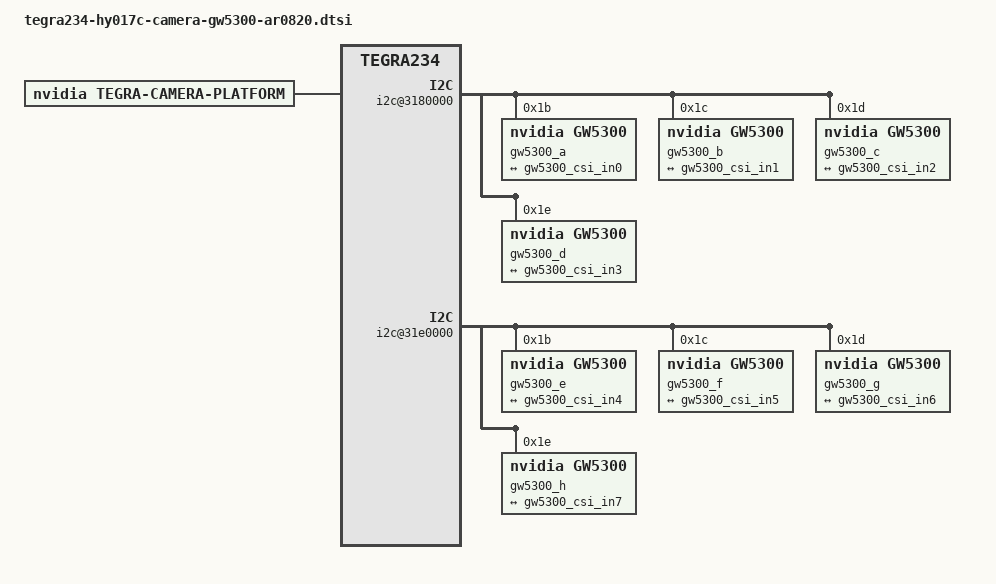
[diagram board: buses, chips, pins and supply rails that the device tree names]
/*
 * Copyright (c) 2018, NVIDIA CORPORATION.  All rights reserved.
 *
 * This program is free software; you can redistribute it and/or modify
 * it under the terms of the GNU General Public License as published by
 * the Free Software Foundation; either version 2 of the License, or
 * (at your option) any later version.
 *
 * This program is distributed in the hope that it will be useful, but WITHOUT
 * ANY WARRANTY; without even the implied warranty of MERCHANTABILITY or
 * FITNESS FOR A PARTICULAR PURPOSE.  See the GNU General Public License for
 * more details.
 *
 * You should have received a copy of the GNU General Public License
 * along with this program.  If not, see <http://www.gnu.org/licenses/>.
 */



/ {
		tegra-capture-vi {
			num-channels = <8>;
			ports {
				#address-cells = <1>;
				#size-cells = <0>;
            #if 1
				port@0 {
					reg = <0>;
					gw5300_vi_in0: endpoint {
						vc-id = <0>;
						port-index = <0>;
						bus-width = <4>;
						remote-endpoint = <&gw5300_csi_out0>;
					};
				};
				port@1 {
					reg = <1>;
					gw5300_vi_in1: endpoint {
						vc-id = <1>;
						port-index = <0>;
						bus-width = <4>;
						remote-endpoint = <&gw5300_csi_out1>;
					};
				};
				port@2 {
					reg = <2>;
					gw5300_vi_in2: endpoint {
						vc-id = <0>;
						port-index = <2>;
						bus-width = <4>;
						remote-endpoint = <&gw5300_csi_out2>;
					};
				};
				port@3 {
					reg = <3>;
					gw5300_vi_in3: endpoint {
						vc-id = <1>;
						port-index = <2>;
						bus-width = <4>;
						remote-endpoint = <&gw5300_csi_out3>;
					};
				};
            #endif
            #if 1
				port@4 {
					reg = <4>;
					gw5300_vi_in4: endpoint {
						vc-id = <0>;
						port-index = <5>;
						bus-width = <4>;
						remote-endpoint = <&gw5300_csi_out4>;
					};
				};
				port@5 {
					reg = <5>;
					gw5300_vi_in5: endpoint {
						vc-id = <1>;
						port-index = <5>;
						bus-width = <4>;
						remote-endpoint = <&gw5300_csi_out5>;
					};
				};	
				port@6 {
					reg = <6>;
					gw5300_vi_in6: endpoint {
						vc-id = <0>;
						port-index = <4>;
						bus-width = <4>;
						remote-endpoint = <&gw5300_csi_out6>;
					};
				};
				port@7 {
					reg = <7>;
					gw5300_vi_in7: endpoint {
						vc-id = <1>;
						port-index = <4>;
						bus-width = <4>;
						remote-endpoint = <&gw5300_csi_out7>;
					};
				};
            #endif
			};
		};

	host1x@13e00000 {
		nvcsi@15a00000 {
			num-channels = <8>;
			#address-cells = <1>;
			#size-cells = <0>;
        #if 1
			channel@0 {
				reg = <0>;
				ports {
					#address-cells = <1>;
					#size-cells = <0>;
					port@0 {
						reg = <0>;
						gw5300_csi_in0: endpoint@0 {
							port-index = <0>;
							bus-width = <4>;
							remote-endpoint = <&gw5300_gw5300_out0>;
						};
					};

					port@1 {
						reg = <1>;
						gw5300_csi_out0: endpoint@1 {
							remote-endpoint = <&gw5300_vi_in0>;
						};
					};

				};
			};
			channel@1 {
				reg = <1>;
				ports {
					#address-cells = <1>;
					#size-cells = <0>;
					port@0 {
						reg = <0>;
						gw5300_csi_in1: endpoint@2 {
							port-index = <0>;
							bus-width = <4>;
							remote-endpoint = <&gw5300_gw5300_out1>;
						};
					};
					port@1 {
						reg = <1>;
						gw5300_csi_out1: endpoint@3 {
							remote-endpoint = <&gw5300_vi_in1>;
						};
					};
				};
			};
			channel@2 {
				reg = <2>;
				ports {
					#address-cells = <1>;
					#size-cells = <0>;
					port@0 {
						reg = <0>;
						gw5300_csi_in2: endpoint@4 {
							port-index = <2>;
							bus-width = <4>;
							remote-endpoint = <&gw5300_gw5300_out2>;
						};
					};
					port@1 {
						reg = <1>;
						gw5300_csi_out2: endpoint@5 {
							remote-endpoint = <&gw5300_vi_in2>;
						};
					};
				};
			};
			channel@3 {
				reg = <3>;
				ports {
					#address-cells = <1>;
					#size-cells = <0>;
					port@0 {
						reg = <0>;
						gw5300_csi_in3: endpoint@6 {
							port-index = <2>;
							bus-width = <4>;
							remote-endpoint = <&gw5300_gw5300_out3>;
						};
					};
					port@1 {
						reg = <1>;
						gw5300_csi_out3: endpoint@7 {
							remote-endpoint = <&gw5300_vi_in3>;
						};
					};
				};
			};
        #endif
        #if 1
			channel@4 {
				reg = <4>;
				ports {
					#address-cells = <1>;
					#size-cells = <0>;
					port@0 {
						reg = <0>;
						gw5300_csi_in4: endpoint@8 {
							port-index = <6>;
							bus-width = <4>;
							remote-endpoint = <&gw5300_gw5300_out4>;
						};
					};

					port@1 {
						reg = <1>;
						gw5300_csi_out4: endpoint@9 {
							remote-endpoint = <&gw5300_vi_in4>;
						};
					};

				};
			};
			channel@5 {
				reg = <5>;
				ports {
					#address-cells = <1>;
					#size-cells = <0>;
					port@0 {
						reg = <0>;
						gw5300_csi_in5: endpoint@10 {
							port-index = <6>;
							bus-width = <4>;
							remote-endpoint = <&gw5300_gw5300_out5>;
						};
					};
					port@1 {
						reg = <1>;
						gw5300_csi_out5: endpoint@11 {
							remote-endpoint = <&gw5300_vi_in5>;
						};
					};
				};
			};
			channel@6 {
				reg = <6>;
				ports {
					#address-cells = <1>;
					#size-cells = <0>;
					port@0 {
						reg = <0>;
						gw5300_csi_in6: endpoint@12 {
							port-index = <4>;
							bus-width = <4>;
							remote-endpoint = <&gw5300_gw5300_out6>;
						};
					};
					port@1 {
						reg = <1>;
						gw5300_csi_out6: endpoint@13 {
							remote-endpoint = <&gw5300_vi_in6>;
						};
					};
				};
			};
			channel@7 {
				reg = <7>;
				ports {
					#address-cells = <1>;
					#size-cells = <0>;
					port@0 {
						reg = <0>;
						gw5300_csi_in7: endpoint@14 {
							port-index = <4>;
							bus-width = <4>;
							remote-endpoint = <&gw5300_gw5300_out7>;
						};
					};
					port@1 {
						reg = <1>;
						gw5300_csi_out7: endpoint@15 {
							remote-endpoint = <&gw5300_vi_in7>;
						};
					};
				};
			};
        #endif
		};

	};

	i2c@3180000 {

			gw5300_a@1b {
				compatible = "nvidia,gw5300";
				reg = <0x1b>;
				physical_w = "15.0";
				physical_h = "12.5";
				//def-mode = <0>;
				sensor_model ="ar0820-SG";
				post_crop_frame_drop = "0";
				use_decibel_gain = "true";
				delayed_gain = "true";
				//use_sensor_mode_id = "true";
				mode0 {
					mclk_khz = "24000";
					num_lanes = "4";
					tegra_sinterface = "serial_a";
					vc_id = "0";
					discontinuous_clk = "no";
					dpcm_enable = "false";
					cil_settletime = "0";
					mode_type = "yuv";
					pixel_phase = "yuyv";
					csi_pixel_bit_depth = "16";
					active_w = "1920";
					active_h = "1080";
					//pixel_t = "yuv_yuyv16";
					readout_orientation = "0";
					line_length = "4400";
					inherent_gain = "1";
					pix_clk_hz = "148500000";
					serdes_pix_clk_hz = "300000000";
					min_framerate = "30";
					max_framerate = "30";
				};
				mode1 {
					mclk_khz = "24000";
					num_lanes = "4";
					tegra_sinterface = "serial_a";
					vc_id = "0";
					discontinuous_clk = "no";
					dpcm_enable = "false";
					cil_settletime = "0";
					mode_type = "yuv";
					pixel_phase = "yuyv";
					csi_pixel_bit_depth = "16";
					active_w = "2880";
					active_h = "1860";
					//pixel_t = "yuv_yuyv16";
					readout_orientation = "0";
					line_length = "3160";
					inherent_gain = "1";
					pix_clk_hz = "189600000";
					serdes_pix_clk_hz = "300000000";
					min_framerate = "30";
					max_framerate = "30";
				};
				mode2 {
					mclk_khz = "24000";
					num_lanes = "4";
					tegra_sinterface = "serial_a";
					vc_id = "0";
					discontinuous_clk = "no";
					dpcm_enable = "false";
					cil_settletime = "0";
					mode_type = "yuv";
					pixel_phase = "yuyv";
					csi_pixel_bit_depth = "16";
					active_w = "3840";
					active_h = "2160";
					//pixel_t = "yuv_yuyv16";
					readout_orientation = "0";
					line_length = "4400";
					inherent_gain = "1";
					pix_clk_hz = "148500000";
					serdes_pix_clk_hz = "300000000";
					min_framerate = "30";
					max_framerate = "30";
				};
				ports {
					#address-cells = <1>;
					#size-cells = <0>;
					port@0 {
						reg = <0>;
						gw5300_gw5300_out0: endpoint {
							vc-id = <0>;
							port-index = <0>;
							bus-width = <4>;
							remote-endpoint = <&gw5300_csi_in0>;
							};
						};
					};
				gmsl-link {
					src-csi-port = "b";
					dst-csi-port = "b";
					serdes-csi-link = "a";
					csi-mode = "1x4";
					st-vc = <0>;
					vc-id = <0>;
					num-lanes = <4>;
					streams = "yuv422-8";
					};
				};
			gw5300_b@1c {
				compatible = "nvidia,gw5300";
				reg = <0x1c>;
				physical_w = "15.0";
				physical_h = "12.5";
				//def-mode = <0>;
				sensor_model ="ar0820-SG";
				post_crop_frame_drop = "0";
				use_decibel_gain = "true";
				delayed_gain = "true";
				//use_sensor_mode_id = "true";
				mode0 {
					mclk_khz = "24000";
					num_lanes = "4";
					tegra_sinterface = "serial_a";
					vc_id = "1";
					discontinuous_clk = "no";
					dpcm_enable = "false";
					cil_settletime = "0";
					mode_type = "yuv";
					pixel_phase = "yuyv";
					csi_pixel_bit_depth = "16";
					active_w = "1920";
					active_h = "1080";
					//pixel_t = "yuv_yuyv16";
					readout_orientation = "0";
					line_length = "4400";
					inherent_gain = "1";
					pix_clk_hz = "148500000";
					serdes_pix_clk_hz = "300000000";
					min_framerate = "30";
					max_framerate = "30";
				};
				mode1 {
					mclk_khz = "24000";
					num_lanes = "4";
					tegra_sinterface = "serial_a";
					vc_id = "1";
					discontinuous_clk = "no";
					dpcm_enable = "false";
					cil_settletime = "0";
					mode_type = "yuv";
					pixel_phase = "yuyv";
					csi_pixel_bit_depth = "16";
					active_w = "2880";
					active_h = "1860";
					//pixel_t = "yuv_yuyv16";
					readout_orientation = "0";
					line_length = "3160";
					inherent_gain = "1";
					pix_clk_hz = "189600000";
					serdes_pix_clk_hz = "300000000";
					min_framerate = "30";
					max_framerate = "30";
				};
				mode2 {
					mclk_khz = "24000";
					num_lanes = "4";
					tegra_sinterface = "serial_a";
					vc_id = "1";
					discontinuous_clk = "no";
					dpcm_enable = "false";
					cil_settletime = "0";
					mode_type = "yuv";
					pixel_phase = "yuyv";
					csi_pixel_bit_depth = "16";
					active_w = "3840";
					active_h = "2160";
					//pixel_t = "yuv_yuyv16";
					readout_orientation = "0";
					line_length = "4400";
					inherent_gain = "1";
					pix_clk_hz = "148500000";
					serdes_pix_clk_hz = "300000000";
					min_framerate = "30";
					max_framerate = "30";
				};
				ports {
					#address-cells = <1>;
					#size-cells = <0>;
					port@0 {
						reg = <0>;
						gw5300_gw5300_out1: endpoint {
							vc-id = <1>;
							port-index = <0>;
							bus-width = <4>;
							remote-endpoint = <&gw5300_csi_in1>;
							};
						};
					};
				gmsl-link {
					src-csi-port = "b";
					dst-csi-port = "b";
					serdes-csi-link = "b";
					csi-mode = "1x4";
					st-vc = <0>;
					vc-id = <1>;
					num-lanes = <4>;
					streams = "yuv422-8";
					};
				};

			gw5300_c@1d {
				compatible = "nvidia,gw5300";
				reg = <0x1d>;
				physical_w = "15.0";
				physical_h = "12.5";
				//def-mode = <0>;
				sensor_model ="ar0820-SG";
				post_crop_frame_drop = "0";
				use_decibel_gain = "true";
				delayed_gain = "true";
				//use_sensor_mode_id = "true";
				mode0 {
					mclk_khz = "24000";
					num_lanes = "4";
					tegra_sinterface = "serial_c";
					vc_id = "0";
					discontinuous_clk = "no";
					dpcm_enable = "false";
					cil_settletime = "0";
					mode_type = "yuv";
					pixel_phase = "yuyv";
					csi_pixel_bit_depth = "16";
					active_w = "1920";
					active_h = "1080";
					//pixel_t = "yuv_yuyv16";
					readout_orientation = "0";
					line_length = "4400";
					inherent_gain = "1";
					pix_clk_hz = "148500000";
					serdes_pix_clk_hz = "300000000";
					min_framerate = "30";
					max_framerate = "30";
				};
				mode1 {
					mclk_khz = "24000";
					num_lanes = "4";
					tegra_sinterface = "serial_c";
					vc_id = "0";
					discontinuous_clk = "no";
					dpcm_enable = "false";
					cil_settletime = "0";
					mode_type = "yuv";
					pixel_phase = "yuyv";
					csi_pixel_bit_depth = "16";
					active_w = "2880";
					active_h = "1860";
					//pixel_t = "yuv_yuyv16";
					readout_orientation = "0";
					line_length = "3160";
					inherent_gain = "1";
					pix_clk_hz = "189600000";
					serdes_pix_clk_hz = "300000000";
					min_framerate = "30";
					max_framerate = "30";
				};
				mode2 {
					mclk_khz = "24000";
					num_lanes = "4";
					tegra_sinterface = "serial_c";
					vc_id = "0";
					discontinuous_clk = "no";
					dpcm_enable = "false";
					cil_settletime = "0";
					mode_type = "yuv";
					pixel_phase = "yuyv";
					csi_pixel_bit_depth = "16";
					active_w = "3840";
					active_h = "2160";
					//pixel_t = "yuv_yuyv16";
					readout_orientation = "0";
					line_length = "4400";
					inherent_gain = "1";
					pix_clk_hz = "148500000";
					serdes_pix_clk_hz = "300000000";
					min_framerate = "30";
					max_framerate = "30";
				};
				ports {
					#address-cells = <1>;
					#size-cells = <0>;
					port@0 {
						reg = <0>;
						gw5300_gw5300_out2: endpoint {
							vc-id = <0>;
							port-index = <2>;
							bus-width = <4>;
							remote-endpoint = <&gw5300_csi_in2>;
							};
						};
					};
				gmsl-link {
					src-csi-port = "b";
					dst-csi-port = "b";
					serdes-csi-link = "a";
					csi-mode = "1x4";
					st-vc = <0>;
					vc-id = <0>;
					num-lanes = <4>;
					streams = "yuv422-8";
					};
				};

			gw5300_d@1e{
				compatible = "nvidia,gw5300";
				reg = <0x1e>;
				physical_w = "15.0";
				physical_h = "12.5";
				//def-mode = <0>;
				sensor_model ="ar0820-SG";
				post_crop_frame_drop = "0";
				use_decibel_gain = "true";
				delayed_gain = "true";
				//use_sensor_mode_id = "true";
				mode0 {
					mclk_khz = "24000";
					num_lanes = "4";
					tegra_sinterface = "serial_c";
					vc_id = "1";
					discontinuous_clk = "no";
					dpcm_enable = "false";
					cil_settletime = "0";
					mode_type = "yuv";
					pixel_phase = "yuyv";
					csi_pixel_bit_depth = "16";
					active_w = "1920";
					active_h = "1080";
					//pixel_t = "yuv_yuyv16";
					readout_orientation = "0";
					line_length = "4400";
					inherent_gain = "1";
					pix_clk_hz = "148500000";
					serdes_pix_clk_hz = "300000000";
					min_framerate = "30";
					max_framerate = "30";
				};
				mode1 {
					mclk_khz = "24000";
					num_lanes = "4";
					tegra_sinterface = "serial_c";
					vc_id = "1";
					discontinuous_clk = "no";
					dpcm_enable = "false";
					cil_settletime = "0";
					mode_type = "yuv";
					pixel_phase = "yuyv";
					csi_pixel_bit_depth = "16";
					active_w = "2880";
					active_h = "1860";
					//pixel_t = "yuv_yuyv16";
					readout_orientation = "0";
					line_length = "3160";
					inherent_gain = "1";
					pix_clk_hz = "189600000";
					serdes_pix_clk_hz = "300000000";
					min_framerate = "30";
					max_framerate = "30";
				};
				mode2 {
					mclk_khz = "24000";
					num_lanes = "4";
					tegra_sinterface = "serial_c";
					vc_id = "1";
					discontinuous_clk = "no";
					dpcm_enable = "false";
					cil_settletime = "0";
					mode_type = "yuv";
					pixel_phase = "yuyv";
					csi_pixel_bit_depth = "16";
					active_w = "3840";
					active_h = "2160";
					//pixel_t = "yuv_yuyv16";
					readout_orientation = "0";
					line_length = "4400";
					inherent_gain = "1";
					pix_clk_hz = "148500000";
					serdes_pix_clk_hz = "300000000";
					min_framerate = "30";
					max_framerate = "30";
				};
				ports {
					#address-cells = <1>;
					#size-cells = <0>;
					port@0 {
						reg = <0>;
						gw5300_gw5300_out3: endpoint {
							vc-id = <1>;
							port-index = <2>;
							bus-width = <4>;
							remote-endpoint = <&gw5300_csi_in3>;
							};
						};
					};
				gmsl-link {
					src-csi-port = "b";
					dst-csi-port = "b";
					serdes-csi-link = "b";
					csi-mode = "1x4";
					st-vc = <0>;
					vc-id = <1>;
					num-lanes = <4>;
					streams = "yuv422-8";
					};
				};
	};
    #if 1
	i2c@31e0000 {
			gw5300_e@1b {
				compatible = "nvidia,gw5300";
				reg = <0x1b>;
				physical_w = "15.0";
				physical_h = "12.5";
				//def-mode = <0>;
				sensor_model ="ar0820-SG";
				post_crop_frame_drop = "0";
				use_decibel_gain = "true";
				delayed_gain = "true";
				//use_sensor_mode_id = "true";
				mode0 {
					mclk_khz = "24000";
					num_lanes = "4";
					tegra_sinterface = "serial_g";
					vc_id = "0";
					discontinuous_clk = "no";
					dpcm_enable = "false";
					cil_settletime = "0";
					mode_type = "yuv";
					pixel_phase = "yuyv";
					csi_pixel_bit_depth = "16";
					active_w = "1920";
					active_h = "1080";
					//pixel_t = "yuv_yuyv16";
					readout_orientation = "0";
					line_length = "4400";
					inherent_gain = "1";
					pix_clk_hz = "148500000";
					serdes_pix_clk_hz = "300000000";
					min_framerate = "30";
					max_framerate = "30";
				};
				mode1 {
					mclk_khz = "24000";
					num_lanes = "4";
					tegra_sinterface = "serial_g";
					vc_id = "0";
					discontinuous_clk = "no";
					dpcm_enable = "false";
					cil_settletime = "0";
					mode_type = "yuv";
					pixel_phase = "yuyv";
					csi_pixel_bit_depth = "16";
					active_w = "2880";
					active_h = "1860";
					//pixel_t = "yuv_yuyv16";
					readout_orientation = "0";
					line_length = "3160";
					inherent_gain = "1";
					pix_clk_hz = "189600000";
					serdes_pix_clk_hz = "300000000";
					min_framerate = "30";
					max_framerate = "30";
				};
				mode2 {
					mclk_khz = "24000";
					num_lanes = "4";
					tegra_sinterface = "serial_g";
					vc_id = "0";
					discontinuous_clk = "no";
					dpcm_enable = "false";
					cil_settletime = "0";
					mode_type = "yuv";
					pixel_phase = "yuyv";
					csi_pixel_bit_depth = "16";
					active_w = "3840";
					active_h = "2160";
					//pixel_t = "yuv_yuyv16";
					readout_orientation = "0";
					line_length = "4400";
					inherent_gain = "1";
					pix_clk_hz = "148500000";
					serdes_pix_clk_hz = "300000000";
					min_framerate = "30";
					max_framerate = "30";
				};
				ports {
					#address-cells = <1>;
					#size-cells = <0>;
					port@0 {
						reg = <0>;
						gw5300_gw5300_out4: endpoint {
							vc-id = <0>;
							port-index = <6>;
							bus-width = <4>;
							remote-endpoint = <&gw5300_csi_in4>;
							};
						};
					};
				gmsl-link {
					src-csi-port = "b";
					dst-csi-port = "b";
					serdes-csi-link = "a";
					csi-mode = "1x4";
					st-vc = <0>;
					vc-id = <0>;
					num-lanes = <4>;
					streams = "yuv422-8";
					};
				};
			gw5300_f@1c {
				compatible = "nvidia,gw5300";
				reg = <0x1c>;
				physical_w = "15.0";
				physical_h = "12.5";
				//def-mode = <0>;
				sensor_model ="ar0820-SG";
				post_crop_frame_drop = "0";
				use_decibel_gain = "true";
				delayed_gain = "true";
				//use_sensor_mode_id = "true";
				mode0 {
					mclk_khz = "24000";
					num_lanes = "4";
					tegra_sinterface = "serial_g";
					vc_id = "1";
					discontinuous_clk = "no";
					dpcm_enable = "false";
					cil_settletime = "0";
					mode_type = "yuv";
					pixel_phase = "yuyv";
					csi_pixel_bit_depth = "16";
					active_w = "1920";
					active_h = "1080";
					//pixel_t = "yuv_yuyv16";
					readout_orientation = "0";
					line_length = "4400";
					inherent_gain = "1";
					pix_clk_hz = "148500000";
					serdes_pix_clk_hz = "300000000";
					min_framerate = "30";
					max_framerate = "30";
				};
				mode1 {
					mclk_khz = "24000";
					num_lanes = "4";
					tegra_sinterface = "serial_g";
					vc_id = "1";
					discontinuous_clk = "no";
					dpcm_enable = "false";
					cil_settletime = "0";
					mode_type = "yuv";
					pixel_phase = "yuyv";
					csi_pixel_bit_depth = "16";
					active_w = "2880";
					active_h = "1860";
					//pixel_t = "yuv_yuyv16";
					readout_orientation = "0";
					line_length = "3160";
					inherent_gain = "1";
					pix_clk_hz = "189600000";
					serdes_pix_clk_hz = "300000000";
					min_framerate = "30";
					max_framerate = "30";
				};
				mode2 {
					mclk_khz = "24000";
					num_lanes = "4";
					tegra_sinterface = "serial_g";
					vc_id = "1";
					discontinuous_clk = "no";
					dpcm_enable = "false";
					cil_settletime = "0";
					mode_type = "yuv";
					pixel_phase = "yuyv";
					csi_pixel_bit_depth = "16";
					active_w = "3840";
					active_h = "2160";
					//pixel_t = "yuv_yuyv16";
					readout_orientation = "0";
					line_length = "4400";
					inherent_gain = "1";
					pix_clk_hz = "148500000";
					serdes_pix_clk_hz = "300000000";
					min_framerate = "30";
					max_framerate = "30";
				};
				ports {
					#address-cells = <1>;
					#size-cells = <0>;
					port@0 {
						reg = <0>;
						gw5300_gw5300_out5: endpoint {
							vc-id = <1>;
							port-index = <6>;
							bus-width = <4>;
							remote-endpoint = <&gw5300_csi_in5>;
							};
						};
					};
				gmsl-link {
					src-csi-port = "b";
					dst-csi-port = "b";
					serdes-csi-link = "b";
					csi-mode = "1x4";
					st-vc = <0>;
					vc-id = <1>;
					num-lanes = <4>;
					streams = "yuv422-8";
					};
				};

			gw5300_g@1d {
				compatible = "nvidia,gw5300";
				reg = <0x1d>;
				physical_w = "15.0";
				physical_h = "12.5";
				//def-mode = <0>;
				sensor_model ="ar0820-SG";
				post_crop_frame_drop = "0";
				use_decibel_gain = "true";
				delayed_gain = "true";
				//use_sensor_mode_id = "true";
				mode0 {
					mclk_khz = "24000";
					num_lanes = "4";
					tegra_sinterface = "serial_e";
					vc_id = "0";
					discontinuous_clk = "no";
					dpcm_enable = "false";
					cil_settletime = "0";
					mode_type = "yuv";
					pixel_phase = "yuyv";
					csi_pixel_bit_depth = "16";
					active_w = "1920";
					active_h = "1080";
					//pixel_t = "yuv_yuyv16";
					readout_orientation = "0";
					line_length = "4400";
					inherent_gain = "1";
					pix_clk_hz = "148500000";
					serdes_pix_clk_hz = "300000000";
					min_framerate = "30";
					max_framerate = "30";
				};
				mode1 {
					mclk_khz = "24000";
					num_lanes = "4";
					tegra_sinterface = "serial_e";
					vc_id = "0";
					discontinuous_clk = "no";
					dpcm_enable = "false";
					cil_settletime = "0";
					mode_type = "yuv";
					pixel_phase = "yuyv";
					csi_pixel_bit_depth = "16";
					active_w = "2880";
					active_h = "1860";
					//pixel_t = "yuv_yuyv16";
					readout_orientation = "0";
					line_length = "3160";
					inherent_gain = "1";
					pix_clk_hz = "189600000";
					serdes_pix_clk_hz = "300000000";
					min_framerate = "30";
					max_framerate = "30";
				};
				mode2 {
					mclk_khz = "24000";
					num_lanes = "4";
					tegra_sinterface = "serial_e";
					vc_id = "0";
					discontinuous_clk = "no";
					dpcm_enable = "false";
					cil_settletime = "0";
					mode_type = "yuv";
					pixel_phase = "yuyv";
					csi_pixel_bit_depth = "16";
					active_w = "3840";
					active_h = "2160";
					//pixel_t = "yuv_yuyv16";
					readout_orientation = "0";
					line_length = "4400";
					inherent_gain = "1";
					pix_clk_hz = "148500000";
					serdes_pix_clk_hz = "300000000";
					min_framerate = "30";
					max_framerate = "30";
				};
				ports {
					#address-cells = <1>;
					#size-cells = <0>;
					port@0 {
						reg = <0>;
						gw5300_gw5300_out6: endpoint {
							vc-id = <0>;
							port-index = <4>;
							bus-width = <4>;
							remote-endpoint = <&gw5300_csi_in6>;
							};
						};
					};
				gmsl-link {
					src-csi-port = "b";
					dst-csi-port = "b";
					serdes-csi-link = "a";
					csi-mode = "1x4";
					st-vc = <0>;
					vc-id = <0>;
					num-lanes = <4>;
					streams = "yuv422-8";
					};
				};

			gw5300_h@1e{
				compatible = "nvidia,gw5300";
				reg = <0x1e>;
				physical_w = "15.0";
				physical_h = "12.5";
				//def-mode = <0>;
				sensor_model ="ar0820-SG";
				post_crop_frame_drop = "0";
				use_decibel_gain = "true";
				delayed_gain = "true";
				//use_sensor_mode_id = "true";
				mode0 {
					mclk_khz = "24000";
					num_lanes = "4";
					tegra_sinterface = "serial_e";
					vc_id = "1";
					discontinuous_clk = "no";
					dpcm_enable = "false";
					cil_settletime = "0";
					mode_type = "yuv";
					pixel_phase = "yuyv";
					csi_pixel_bit_depth = "16";
					active_w = "1920";
					active_h = "1080";
					//pixel_t = "yuv_yuyv16";
					readout_orientation = "0";
					line_length = "4400";
					inherent_gain = "1";
					pix_clk_hz = "148500000";
					serdes_pix_clk_hz = "300000000";
					min_framerate = "30";
					max_framerate = "30";
				};
				mode1 {
					mclk_khz = "24000";
					num_lanes = "4";
					tegra_sinterface = "serial_e";
					vc_id = "1";
					discontinuous_clk = "no";
					dpcm_enable = "false";
					cil_settletime = "0";
					mode_type = "yuv";
					pixel_phase = "yuyv";
					csi_pixel_bit_depth = "16";
					active_w = "2880";
					active_h = "1860";
					//pixel_t = "yuv_yuyv16";
					readout_orientation = "0";
					line_length = "3160";
					inherent_gain = "1";
					pix_clk_hz = "189600000";
					serdes_pix_clk_hz = "300000000";
					min_framerate = "30";
					max_framerate = "30";
				};
				mode2 {
					mclk_khz = "24000";
					num_lanes = "4";
					tegra_sinterface = "serial_e";
					vc_id = "1";
					discontinuous_clk = "no";
					dpcm_enable = "false";
					cil_settletime = "0";
					mode_type = "yuv";
					pixel_phase = "yuyv";
					csi_pixel_bit_depth = "16";
					active_w = "3840";
					active_h = "2160";
					//pixel_t = "yuv_yuyv16";
					readout_orientation = "0";
					line_length = "4400";
					inherent_gain = "1";
					pix_clk_hz = "148500000";
					serdes_pix_clk_hz = "300000000";
					min_framerate = "30";
					max_framerate = "30";
				};
				ports {
					#address-cells = <1>;
					#size-cells = <0>;
					port@0 {
						reg = <0>;
						gw5300_gw5300_out7: endpoint {
							vc-id = <1>;
							port-index = <4>;
							bus-width = <4>;
							remote-endpoint = <&gw5300_csi_in7>;
							};
						};
					};
				gmsl-link {
					src-csi-port = "b";
					dst-csi-port = "b";
					serdes-csi-link = "b";
					csi-mode = "1x4";
					st-vc = <0>;
					vc-id = <1>;
					num-lanes = <4>;
					streams = "yuv422-8";
					};
				};

	};
    #endif

};

/ {

	tegra-camera-platform {
		compatible = "nvidia, tegra-camera-platform";
		/**
		* Physical settings to calculate max ISO BW
		*
		* num_csi_lanes = <>;
		* Total number of CSI lanes when all cameras are active
		*
		* max_lane_speed = <>;
		* Max lane speed in Kbit/s
		*
		* min_bits_per_pixel = <>;
		* Min bits per pixel
		*
		* vi_peak_byte_per_pixel = <>;
		* Max byte per pixel for the VI ISO case
		*
		* vi_bw_margin_pct = <>;
		* Vi bandwidth margin in percentage
		*
		* max_pixel_rate = <>;
		* Max pixel rate in Kpixel/s for the ISP ISO case
		*
		* isp_peak_byte_per_pixel = <>;
		* Max byte per pixel for the ISP ISO case
		*
		* isp_bw_margin_pct = <>;
		* Isp bandwidth margin in percentage
		*/
		num_csi_lanes = <8>;
		max_lane_speed = <4000000>;
		min_bits_per_pixel = <10>;
		vi_peak_byte_per_pixel = <2>;
		vi_bw_margin_pct = <25>;
		isp_peak_byte_per_pixel = <5>;
		isp_bw_margin_pct = <25>;

		/**
		 * The general guideline for naming badge_info contains 3 parts, and is as follows,
		 * The first part is the camera_board_id for the module; if the module is in a FFD
		 * platform, then use the platform name for this part.
		 * The second part contains the position of the module, ex. "rear" or "front".
		 * The third part contains the last 6 characters of a part number which is found
		 * in the module's specsheet from the vender.
		 */
		modules {

			module0 {
				badge = "gw5300_bottomleft";
				position = "camera_0";
				orientation = "0";
				drivernode0 {
					pcl_id = "v4l2_sensor";
					devname = "gw5300 2-001b";
					proc-device-tree = "/proc/device-tree/i2c@3180000/gw5300_a@1b";
				};
			};
			module1 {
				badge = "gw5300_bottomright";
				position = "camera_1";
				orientation = "0";
				drivernode0 {
					pcl_id = "v4l2_sensor";
					devname = "gw5300 2-001c";
					proc-device-tree = "/proc/device-tree/i2c@3180000/gw5300_b@1c";
				};
			};
			module2 {
				badge = "gw5300_bottomleft";
				position = "camera_2";
				orientation = "0";
				drivernode0 {
					pcl_id = "v4l2_sensor";
					devname = "gw5300 2-001d";
					proc-device-tree = "/proc/device-tree/i2c@3180000/gw5300_c@1d";
				};
			};
			module3 {
				badge = "gw5300_bottomleft";
				position = "camera_3";
				orientation = "0";
				drivernode0 {
					pcl_id = "v4l2_sensor";
					devname = "gw5300 2-001e";
					proc-device-tree = "/proc/device-tree/i2c@3180000/gw5300_d@1e";
				};
			};
           #if 1
			module4 {
				badge = "gw5300_topleft";
				position = "camera_4";
				orientation = "0";
				drivernode0 {
					pcl_id = "v4l2_sensor";
					devname = "gw5300 8-001b";
					proc-device-tree = "/proc/device-tree/i2c@31e0000/gw5300_e@1b";
				};
			};
			module5 {
				badge = "gw5300_topright";
				position = "camera_5";
				orientation = "0";
				drivernode0 {
					pcl_id = "v4l2_sensor";
					devname = "gw5300 8-001c";
					proc-device-tree = "/proc/device-tree/i2c@31e0000/gw5300_f@1c";
				};
			};
			module6 {
				badge = "gw5300_centerleft";
				position = "camera_6";
				orientation = "0";
				drivernode0 {
					pcl_id = "v4l2_sensor";
					devname = "gw5300 8-001d";
					proc-device-tree = "/proc/device-tree/i2c@31e0000/gw5300_g@1d";
				};
			};
			module7 {
				badge = "gw5300_centerrigth";
				position = "camera_7";
				orientation = "0";
				drivernode0 {
					pcl_id = "v4l2_sensor";
					devname = "gw5300 8-001e";
					proc-device-tree = "/proc/device-tree/i2c@31e0000/gw5300_h@1e";
				};
			};
            #endif
		};
	};
};
